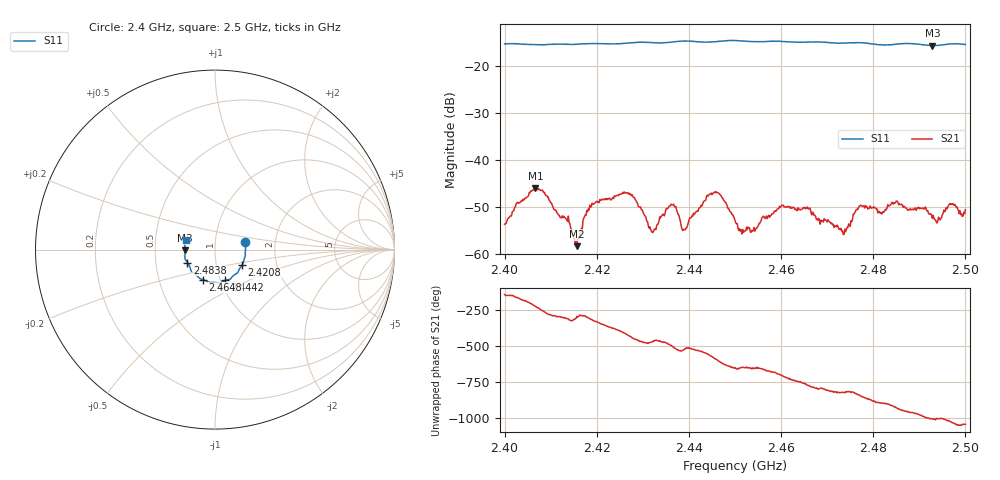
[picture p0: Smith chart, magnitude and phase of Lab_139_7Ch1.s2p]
# Hz S RI R 50
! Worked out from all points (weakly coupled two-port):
!   601 points, 2.4 GHz to 2.5 GHz, reference 50 ohm
!   highest |S21| = -45.99 dB at 2.4067 GHz (marker M1); lowest = -58.3 dB at 2.4157 GHz (marker M2)
!   lowest |S11| = -15.6 dB at 2.4928 GHz (marker M3), VSWR 1.40, Z = 35.8 - j0.353 ohm
!   |S11| at or under -10 dB: start of sweep to end of sweep
!   S12 and S22 are empty: the file has one direction only
!   S11 on the Smith chart (normalised r, x): 2.4 GHz: 1.40, +0.12; 2.4208 GHz: 1.33, -0.24; 2.4442 GHz: 1.05, -0.37; 2.4648 GHz: 0.83, -0.29; 2.4838 GHz: 0.73, -0.11; 2.5 GHz: 0.72, +0.08
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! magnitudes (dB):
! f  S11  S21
! 2.4 GHz  -15.3  -53.6
! 2.4067 GHz  -15.4  -46.0
! 2.4157 GHz  -15.3  -58.3
! 2.4167 GHz  -15.2  -54.5
! 2.4208 GHz  -15.2  -48.5
! 2.4268 GHz  -15.1  -47.0
! 2.4318 GHz  -15.0  -55.0
! 2.4333 GHz  -15.0  -53.6
! 2.4367 GHz  -14.8  -49.4
! 2.439 GHz  -14.6  -54.8
! 2.4442 GHz  -14.9  -47.6
! 2.45 GHz  -14.5  -52.9
! 2.4538 GHz  -14.8  -55.1
! 2.46 GHz  -14.7  -49.8
! 2.4648 GHz  -14.9  -50.0
! 2.4667 GHz  -14.8  -51.6
! 2.4737 GHz  -15.1  -55.8
! 2.4773 GHz  -15.0  -49.6
! 2.4833 GHz  -15.5  -49.7
! 2.4838 GHz  -15.4  -49.5
! 2.4928 GHz  -15.6  -52.4
! 2.5 GHz  -15.4  -50.5
